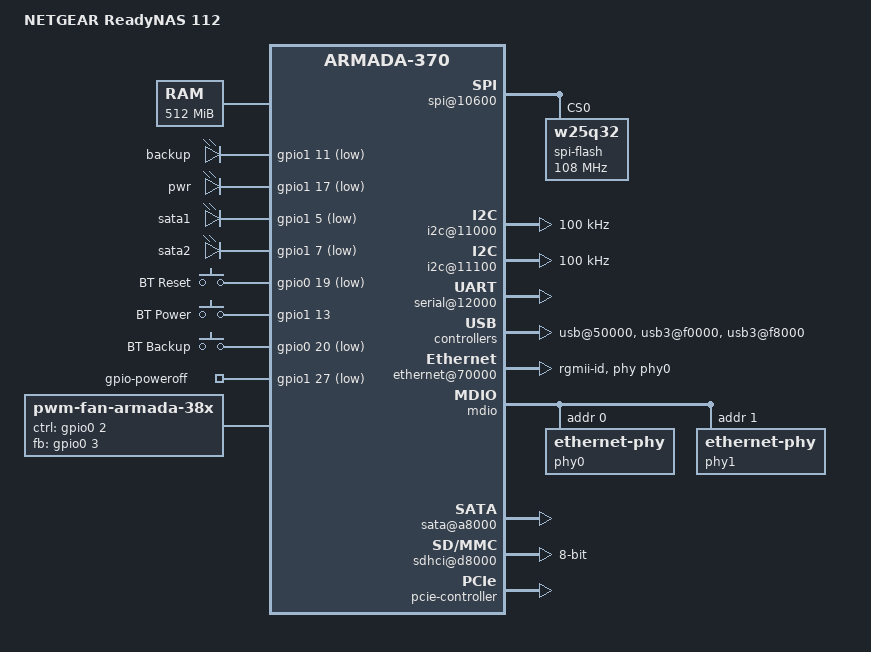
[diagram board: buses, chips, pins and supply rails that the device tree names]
/*
 * Device Tree file for NETGEAR ReadyNAS 112
 *
 * Copyright (C) 2015, NETGEAR
 *
 * Justin Maggard <justin.maggard@netgear.com>
 *
 * This file is licensed under the terms of the GNU General Public
 * License version 2.  This program is licensed "as is" without any
 * warranty of any kind, whether express or implied.
 */

/dts-v1/;
#include <dt-bindings/input/input.h>
#include <dt-bindings/gpio/gpio.h>
#include "armada-385.dtsi"

/ {
	model = "NETGEAR ReadyNAS 112";
	compatible = "netgear,readynas-112", "marvell,armada385", "marvell,armada-370-xp";

	chosen {
		bootargs = "console=ttyS0,115200 earlyprintk";
	};

	memory {
		device_type = "memory";
		reg = <0x00000000 0x20000000>; /* 512 MB */
	};

	soc {
		ranges = <MBUS_ID(0xf0, 0x01) 0 0xf1000000 0x100000
			  MBUS_ID(0x01, 0x1d) 0 0xfff00000 0x100000>;

		internal-regs {
			spi@10600 {
				status = "okay";

				spi-flash@0 {
					#address-cells = <1>;
					#size-cells = <1>;
					compatible = "w25q32";
					reg = <0>; /* Chip select 0 */
					spi-max-frequency = <108000000>;
				};
			};

			i2c@11000 {
				status = "okay";
				clock-frequency = <100000>;
			};

			i2c@11100 {
				status = "okay";
				clock-frequency = <100000>;
			};

			serial@12000 {
				status = "okay";
			};

			usb@50000 {
				status = "ok";
			};

			ethernet@70000 {
				status = "okay";
				phy = <&phy0>;
				phy-mode = "rgmii-id";
			};

			mdio {
				phy0: ethernet-phy@0 {
					reg = <0>;
				};

				phy1: ethernet-phy@1 {
					reg = <1>;
				};
			};

			sata@a8000 {
				status = "okay";
			};

			flash@d0000 {
				status = "okay";
				num-cs = <1>;
				marvell,nand-keep-config;
				marvell,nand-enable-arbiter;
				nand-on-flash-bbt;
				nand-ecc-strength = <4>;
				nand-ecc-step-size = <512>;

				partition@0 {
					label = "u-boot";
					reg = <0x0000000 0x180000>;  /* 1.5MB */
				};

				partition@1a0000 {
					label = "u-boot-env";
					reg = <0x01a0000 0x20000>;   /* 128KB */
					read-only;
				};

				partition@200000 {
					label = "uImage";
					reg = <0x0200000 0x600000>;  /* 6MB */
				};

				partition@800000 {
					label = "minirootfs";
					reg = <0x0800000 0x400000>;  /* 4MB */
				};

				partition@c00000 {
					label = "ubifs";
					reg = <0x0c00000 0x7200000>; /* 100MB */
				};

				partition@7e00000 {
					label = "dtb";
					reg = <0x7e00000 0x20000>;   /* 128KB */
				};
			};

			sdhci@d8000 {
				broken-cd;
				wp-inverted;
				bus-width = <8>;
				status = "okay";
				no-1-8-v;
			};

			usb3@f0000 {
				status = "okay";
			};

			usb3@f8000 {
				status = "okay";
			};

			usb@50000 {
				status = "okay";
			};
		};

		pcie-controller {
			status = "okay";
			/*
			 * The two PCIe units are accessible through
			 * standard PCIe slots on the board.
			 */
			pcie@1,0 {
				/* Port 0, Lane 0 */
				status = "okay";
			};
			pcie@2,0 {
				/* Port 1, Lane 0 */
				status = "okay";
			};
		};
	};

	gpio-leds{
		compatible = "gpio-leds";
		backup {
			gpios = <&gpio1 11 GPIO_ACTIVE_LOW>;
			label = "backup";
			default-state = "off";
		};
		power {
			gpios = <&gpio1 17 GPIO_ACTIVE_LOW>;
			label = "pwr";
			default-state = "keep";
		};
		sata1 {
			gpios = <&gpio1 5 GPIO_ACTIVE_LOW>;
			label = "sata1";
			default-state = "keep";
		};
		sata2 {
			gpios = <&gpio1 7 GPIO_ACTIVE_LOW>;
			label = "sata2";
			default-state = "keep";
		};
	};

	gpio_keys {
		compatible = "gpio-keys";
		#address-cells = <1>;
		#size-cells = <0>;
		button@1 {
			label = "BT Reset";
			linux,code = <0x198>;
			gpios = <&gpio0 19 GPIO_ACTIVE_LOW>;
			debounce-interval = <0x64>;
		};
		button@2 {
			label = "BT Power";
			linux,code = <0x74>;
			gpios = <&gpio1 13 GPIO_ACTIVE_HIGH>;
			debounce-interval = <0x64>;
		};
		button@3 {
			label = "BT Backup";
			linux,code = <0x165>;
			gpios = <&gpio0 20 GPIO_ACTIVE_LOW>;
			debounce-interval = <0x64>;
		};
	};

	gpio-poweroff {
		compatible = "gpio-poweroff";
		gpios = <&gpio1 27 GPIO_ACTIVE_LOW>;
	};

	gpio-hdds-power {
		compatible = "gpio-hdds-power";
		power-sata1 {
			present-gpio = <&gpio0 24 GPIO_ACTIVE_LOW>;
			power-gpio = <&gpio0 29 GPIO_ACTIVE_HIGH>;
			led-gpio = <&gpio1 5 GPIO_ACTIVE_LOW>;
			label = "power-sata1";
		};
		power-sata2 {
			present-gpio = <&gpio0 26 GPIO_ACTIVE_LOW>;
			power-gpio = <&gpio1 26 GPIO_ACTIVE_HIGH>;
			led-gpio = <&gpio1 7 GPIO_ACTIVE_LOW>;
			label = "power-sata2";
		};
		power-sata3 {
			present-gpio = <&gpio0 27 GPIO_ACTIVE_LOW>;
			power-gpio = <&gpio1 20 GPIO_ACTIVE_HIGH>;
			//led-gpio = <&gpio1 7 GPIO_ACTIVE_LOW>;
			label = "power-sata3";
		};
		power-sata4 {
			present-gpio = <&gpio1 18 GPIO_ACTIVE_LOW>;
			power-gpio = <&gpio1 15 GPIO_ACTIVE_HIGH>;
			//led-gpio = <&gpio1 7 GPIO_ACTIVE_LOW>;
			label = "power-sata4";
		};
	};

	pwm-fan-armada-38x {
		compatible = "pwm-fan-armada-38x";
		ctrl-gpio = <&gpio0 2 GPIO_ACTIVE_HIGH>;
		fb-gpio   = <&gpio0 3 GPIO_ACTIVE_HIGH>;
	};
};
